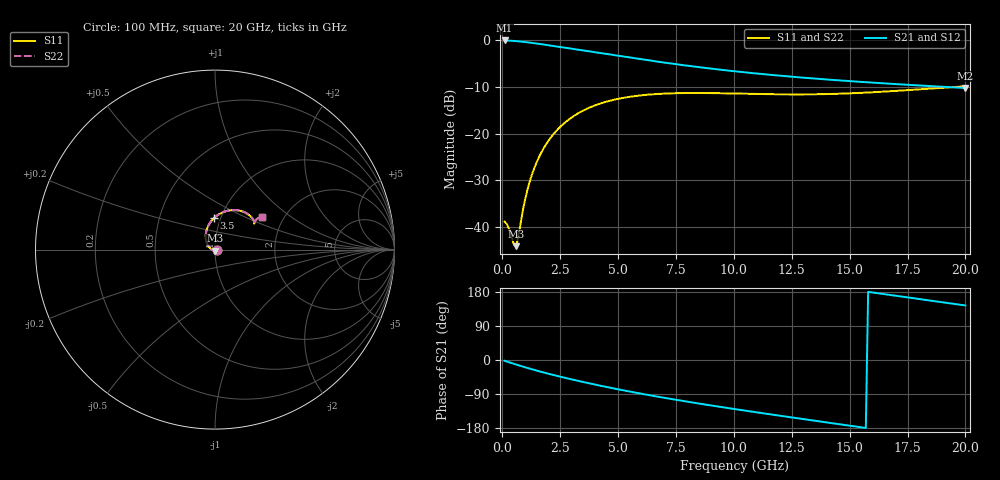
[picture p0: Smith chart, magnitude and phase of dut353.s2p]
! Touchstone file exported from HFSS 2024.1.0
!  File:  C:/UserFiles/LocalFiles/RDL_TSV_Batchsim/temp_RDL_TSV_353_1779638158.aedt
!  Generated:  12:11:06 AM May 25, 2026
!  Design:  RDL_TSV
!  Project:  temp_RDL_TSV_353_1779638158
!  Setup:  Setup1
!  Solution:  Sweep
! Variables:
!  dtsv = 13.04um
!  hbump = 3um
!  htsv = 70.9um
!  ldown = 550.96um
!  lrdl = 375.91um
!  p = 40
!  p1 = 59.53um
!  rhole = 10um
!  subl = 3156.52um
!  t = 450um
!  tdown = 3.46um
!  trdl = 4.45um
!  viad = 10um
!  wdown = 27.73um
!  wrdl = 24.94um
!  xbump = 18um
# GHz S MA R 50.000000
! Terminal data exported
! Port[1] = TM1_1_T1
! Port[2] = TM1_4_T1
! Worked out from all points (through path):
!   200 points, 100 MHz to 20 GHz, reference 50 ohm
!   highest |S21| = -0.11 dB at 100 MHz (marker M1); lowest = -10.3 dB at 20 GHz (marker M2)
!   group delay of S21, straight-line fit = 28.1 ps
!   lowest |S11| = -44.1 dB at 600 MHz (marker M3), VSWR 1.01, Z = 49.8 - j0.598 ohm
!   |S11| at or under -10 dB: start of sweep to 19.69 GHz
!   |S22| runs from -44.1 to -9.9 dB; largest |S21 - S12| = 9.9e-15
!   S11 on the Smith chart (normalised r, x): 100 MHz: 1.02, -0.00; 3.5 GHz: 0.93, +0.34; 20 GHz: 1.55, +0.63
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0.1  0.01144 -5.2  0.9877 -2.1  0.9877 -2.1  0.01144 -5.2
! Gamma 0 0 0 0
! Port Impedance 50 0 50 0
0.2  0.01074 -16.8  0.9857 -4.1  0.9857 -4.1  0.01078 -16.7
0.3  0.009478 -29.2  0.983 -6.1  0.983 -6.1  0.009527 -29.0
0.5  0.006515 -70.8  0.9759 -10.1  0.9759 -10.1  0.006543 -70.5
0.6  0.006261 -106.5  0.9715 -12.0  0.9715 -12.0  0.006268 -106.2
0.7  0.007996 -139.9  0.9665 -13.9  0.9665 -13.9  0.00799 -139.7
0.9  0.0156 -175.7  0.9553 -17.7  0.9553 -17.7  0.0156 -175.6
1.1  0.02587 166.8  0.9426 -21.3  0.9426 -21.3  0.0259 166.8
1.3  0.03764 155.1  0.9288 -24.8  0.9288 -24.8  0.0377 155.1
1.6  0.05698 141.7  0.9071 -29.9  0.9071 -29.9  0.05709 141.7
2  0.08417 127.7  0.8775 -36.4  0.8775 -36.4  0.08434 127.7
2.4  0.1112 116.1  0.8482 -42.5  0.8482 -42.5  0.1114 116.1
2.9  0.1429 103.9  0.8124 -49.8  0.8124 -49.8  0.1432 103.9
3.5  0.1763 91.6  0.7713 -58.2  0.7713 -58.2  0.1767 91.6
4.9  0.2319 70.0  0.6827 -76.1  0.6827 -76.1  0.2325 70.0
6.8  0.2656 51.0  0.582 -97.7  0.582 -97.7  0.2663 51.1
8.4  0.2713 41.4  0.5155 -114.0  0.5155 -114.0  0.272 41.4
10.1  0.2676 35.7  0.461 -130.1  0.461 -130.1  0.2683 35.7
11.7  0.263 33.6  0.4213 -144.5  0.4213 -144.5  0.2637 33.7
13.4  0.2625 33.8  0.3883 -159.5  0.3883 -159.5  0.2632 33.8
16.7  0.2825 35.9  0.341 172.0  0.341 172.0  0.2832 36.0
20  0.3198 35.0  0.3067 143.9  0.3067 143.9  0.3205 35.1
